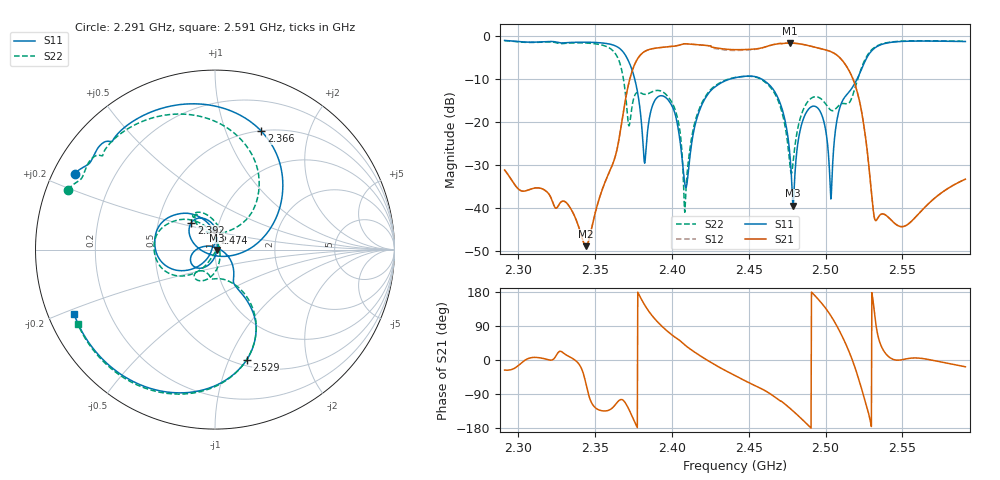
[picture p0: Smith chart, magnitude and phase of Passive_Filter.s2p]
# GHz S MA R 50
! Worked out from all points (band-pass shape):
!   1001 points, 2.291 GHz to 2.591 GHz, reference 50 ohm
!   highest |S21| = -1.63 dB at 2.477 GHz (marker M1); lowest = -48.9 dB at 2.344 GHz (marker M2)
!   |S21| within 3 dB of the highest: 2.379 GHz to 2.508 GHz (129.1 MHz wide, 5.28 % of centre)
!   lowest |S11| = -39.5 dB at 2.479 GHz (marker M3), VSWR 1.02, Z = 51.1 - j0.14 ohm
!   |S11| at or under -10 dB: 2.376 GHz to 2.438 GHz (62.06 MHz wide, 2.58 % of centre); 2.458 GHz to 2.521 GHz (62.2 MHz wide, 2.5 % of centre)
!   |S22| runs from -41.0 to -1.1 dB; largest |S21 - S12| = 0.02
!   S11 on the Smith chart (normalised r, x): 2.291 GHz: 0.06, +0.25; 2.366 GHz: 0.51, +1.34; 2.392 GHz: 0.74, +0.23; 2.474 GHz: 0.97, +0.19; 2.529 GHz: 0.56, -1.16; 2.591 GHz: 0.08, -0.22
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2.291  0.8888 151.7  0.02759 -26.5  0.02759 -26.5  0.8849 157.9
2.3411  0.8484 123.2  0.004689 -22.9  0.004689 -22.9  0.8327 128.9
2.3438  0.8482 120.1  0.003581 -59.9  0.003581 -59.9  0.8297 125.4
2.3663  0.7079 68.5  0.07732 -104.8  0.07732 -104.8  0.4663 58.3
2.372  0.4965 40.6  0.2904 -130.8  0.2904 -130.8  0.08987 90.0
2.3822  0.03308 -106.2  0.662 145.2  0.662 145.2  0.2095 119.9
2.3912  0.1981 132.9  0.7305 97.9  0.7305 97.9  0.2326 118.0
2.3915  0.1993 131.6  0.7317 96.6  0.7317 96.6  0.2322 117.4
2.4029  0.1065 86.4  0.7702 57.5  0.7702 57.5  0.1238 78.4
2.4086  0.0179 142.2  0.8133 38.9  0.8133 38.9  0.01071 -68.3
2.4188  0.1495 -137.3  0.7876 9.9  0.7876 9.9  0.1576 -128.8
2.441  0.3274 -177.1  0.6944 -41.1  0.6794 -42.2  0.3294 -168.9
2.474  0.09566 92.3  0.8254 -117.9  0.8254 -117.9  0.08113 94.7
2.4767  0.04242 74.5  0.8287 -127.2  0.8287 -127.2  0.03245 53.2
2.4788  0.01056 -7.4  0.8268 -134.6  0.8268 -134.6  0.03359 -34.8
2.4911  0.1514 -142.7  0.7568 178.0  0.7568 178.0  0.1912 -114.4
2.5034  0.01268 78.0  0.6587 116.8  0.6587 116.8  0.1372 -120.1
2.5142  0.2123 -60.7  0.427 32.3  0.427 32.3  0.1624 -84.9
2.5289  0.6391 -74.0  0.02259 -157.3  0.02259 -157.3  0.6599 -76.2
2.5325  0.737 -86.4  0.007118 101.8  0.007118 101.8  0.7512 -88.1
2.5412  0.838 -108.8  0.007663 8.3  0.007663 8.3  0.8454 -108.8
2.591  0.8637 -155.3  0.02157 -17.9  0.02157 -17.9  0.8697 -151.5
